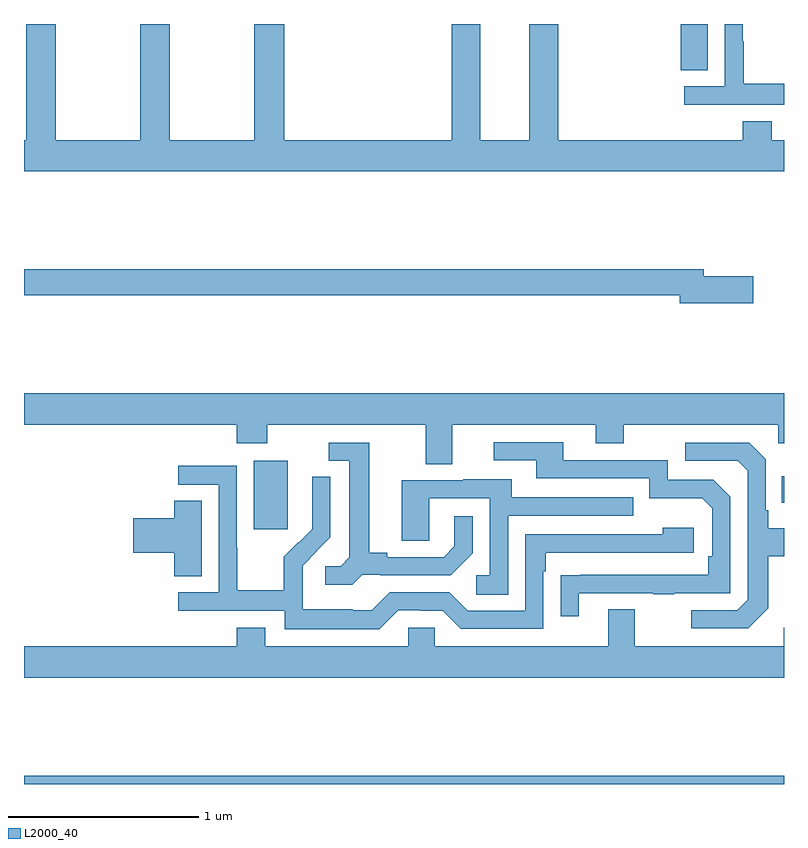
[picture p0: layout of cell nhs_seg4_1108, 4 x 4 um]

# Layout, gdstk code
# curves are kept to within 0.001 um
import gdstk
lib = gdstk.Library(unit=1e-6, precision=1e-09)
def R(c, l, rs):  # rectangles x0, y0, x1, y1
    for r in rs: c.add(gdstk.rectangle(r[:2], r[2:], *l))
def P(c, l, *ps):  # polygons
    for p in ps: c.add(gdstk.Polygon(p, *l))
L2000_40 = (2000, 40)

nhs_seg4_1108 = lib.new_cell('nhs_seg4_1108')
R(nhs_seg4_1108, L2000_40, [(167,822.9,171,822.944), (168.209,824.241,168.388,824.602), (170.989,824.381,171,824.521), (170.456,826.657,170.599,826.9)])
P(nhs_seg4_1108, L2000_40, [(171,826.288),(170.935,826.288),(170.935,826.387),(170.783,826.387),(170.783,826.288),(169.811,826.288),(169.811,826.9),(169.658,826.9),(169.658,826.288),(169.402,826.288),(169.402,826.9),(169.25,826.9),(169.25,826.288),(168.371,826.288),(168.371,826.9),(168.211,826.9),(168.211,826.288),(167.766,826.288),(167.766,826.9),(167.611,826.9),(167.611,826.288),(167.166,826.288),(167.166,826.9),(167.011,826.9),(167.011,826.288),(167,826.288),(167,826.124),(171,826.124)],
  [(171,826.585),(170.787,826.585),(170.787,826.808),(170.784,826.808),(170.784,826.9),(170.688,826.9),(170.688,826.572),(170.475,826.572),(170.475,826.476),(171,826.476)],
  [(170.839,825.572),(170.578,825.572),(170.578,825.608),(167,825.608),(167,825.472),(170.45,825.472),(170.45,825.43),(170.839,825.43)],
  [(169.255,824.792),(170.009,824.792),(170.009,824.693),(170.157,824.693),(170.157,824.792),(170.97,824.792),(170.97,824.693),(171,824.693),(171,824.956),(167,824.956),(167,824.792),(168.119,824.792),(168.119,824.693),(168.279,824.693),(168.279,824.792),(169.115,824.792),(169.115,824.584),(169.255,824.584)],
  [(169.921,823.905),(170.311,823.905),(170.311,823.9),(170.423,823.9),(170.423,823.905),(170.718,823.905),(170.718,824.412),(170.628,824.502),(170.388,824.502),(170.388,824.604),(169.837,824.604),(169.837,824.7),(169.473,824.7),(169.473,824.604),(169.697,824.604),(169.697,824.508),(170.292,824.508),(170.292,824.405),(170.569,824.405),(170.622,824.352),(170.622,824.098),(170.602,824.098),(170.602,824.001),(169.825,824),(169.825,823.782),(169.921,823.782)],
  [(170.917,823.825),(170.917,824.098),(171,824.098),(171,824.245),(170.917,824.245),(170.917,824.341),(170.904,824.341),(170.904,824.61),(170.817,824.697),(170.481,824.697),(170.481,824.601),(170.757,824.601),(170.808,824.55),(170.808,823.869),(170.754,823.815),(170.511,823.815),(170.511,823.719),(170.811,823.719)],
  [(168.78,824.001),(168.874,824.001),(168.874,823.998),(169.246,823.998),(169.362,824.114),(169.362,824.308),(169.265,824.308),(169.265,824.151),(169.208,824.094),(168.913,824.094),(168.913,824.117),(168.817,824.117),(168.817,824.697),(168.603,824.697),(168.603,824.601),(168.713,824.601),(168.713,824.093),(168.666,824.046),(168.585,824.046),(168.585,823.949),(168.728,823.949)],
  [(168.969,823.815),(169.085,823.815),(169.085,823.812),(169.203,823.812),(169.299,823.716),(169.734,823.716),(169.734,824.021),(169.747,824.021),(169.747,824.118),(170.524,824.118),(170.524,824.248),(170.363,824.248),(170.363,824.214),(169.638,824.214),(169.638,823.812),(169.335,823.812),(169.239,823.908),(168.924,823.908),(168.831,823.815),(168.731,823.815),(168.731,823.819),(168.468,823.819),(168.468,823.953),(168.466,823.953),(168.466,824.05),(168.612,824.198),(168.612,824.516),(168.516,824.516),(168.516,824.362),(168.518,824.362),(168.518,824.24),(168.447,824.169),(168.444,824.172),(168.367,824.095),(168.367,823.921),(168.123,823.921),(168.123,824.144),(168.12,824.144),(168.12,824.574),(167.811,824.574),(167.811,824.475),(168.024,824.475),(168.024,823.908),(167.811,823.908),(167.811,823.812),(168.372,823.812),(168.372,823.715),(168.869,823.715)],
  [(169.548,824.313),(170.207,824.313),(170.207,824.409),(169.567,824.409),(169.567,824.503),(169.313,824.503),(169.313,824.499),(168.989,824.499),(168.989,824.179),(169.134,824.179),(169.134,824.403),(169.452,824.403),(169.452,823.998),(169.38,823.998),(169.38,823.897),(169.548,823.897)],
  [(167.935,824.39),(167.792,824.39),(167.792,824.3),(167.574,824.3),(167.574,824.117),(167.792,824.117),(167.792,823.993),(167.935,823.993)],
  [(171,823.723),(170.999,823.723),(170.999,823.624),(170.215,823.624),(170.215,823.819),(170.075,823.819),(170.075,823.624),(169.161,823.624),(169.161,823.722),(169.023,823.722),(169.023,823.624),(168.271,823.624),(168.271,823.723),(168.119,823.723),(168.119,823.624),(167,823.624),(167,823.46),(171,823.46)])

lib.write_gds('nhs_seg4_1108.gds')
